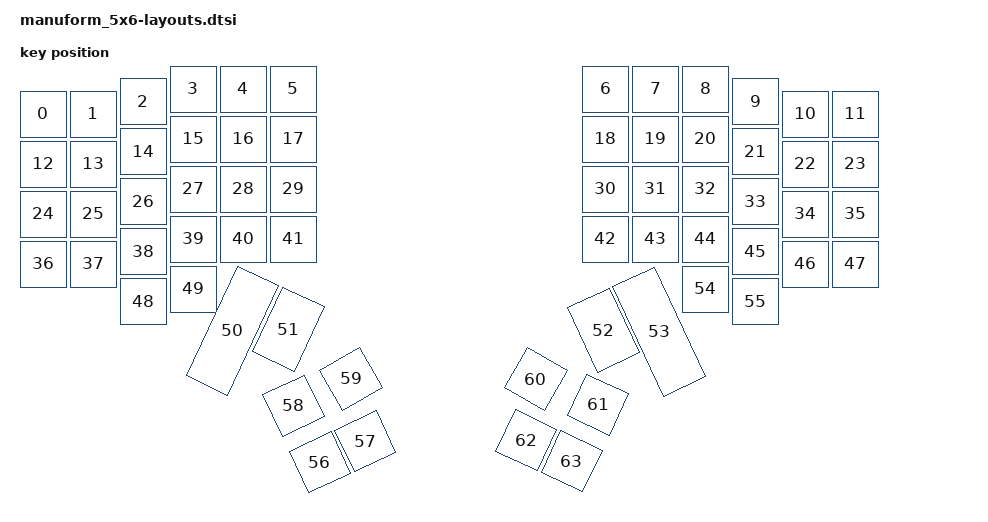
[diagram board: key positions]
#include <physical_layouts.dtsi>

/ {
    physical_layout_manuform_5x6: physical_layout_manuform_5x6 {
        compatible = "zmk,physical-layout";
        display-name = "manuform_5x6";
        keys  //                     w   h    x    y     rot    rx    ry
            = <&key_physical_attrs 100 100    0   75       0     0     0>
            , <&key_physical_attrs 100 100  100   75       0     0     0>
            , <&key_physical_attrs 100 100  200   50       0     0     0>
            , <&key_physical_attrs 100 100  300   25       0     0     0>
            , <&key_physical_attrs 100 100  400   25       0     0     0>
            , <&key_physical_attrs 100 100  500   25       0     0     0>
            , <&key_physical_attrs 100 100 1125   25       0     0     0>
            , <&key_physical_attrs 100 100 1225   25       0     0     0>
            , <&key_physical_attrs 100 100 1325   25       0     0     0>
            , <&key_physical_attrs 100 100 1425   50       0     0     0>
            , <&key_physical_attrs 100 100 1525   75       0     0     0>
            , <&key_physical_attrs 100 100 1625   75       0     0     0>
            , <&key_physical_attrs 100 100    0  175       0     0     0>
            , <&key_physical_attrs 100 100  100  175       0     0     0>
            , <&key_physical_attrs 100 100  200  150       0     0     0>
            , <&key_physical_attrs 100 100  300  125       0     0     0>
            , <&key_physical_attrs 100 100  400  125       0     0     0>
            , <&key_physical_attrs 100 100  500  125       0     0     0>
            , <&key_physical_attrs 100 100 1125  125       0     0     0>
            , <&key_physical_attrs 100 100 1225  125       0     0     0>
            , <&key_physical_attrs 100 100 1325  125       0     0     0>
            , <&key_physical_attrs 100 100 1425  150       0     0     0>
            , <&key_physical_attrs 100 100 1525  175       0     0     0>
            , <&key_physical_attrs 100 100 1625  175       0     0     0>
            , <&key_physical_attrs 100 100    0  275       0     0     0>
            , <&key_physical_attrs 100 100  100  275       0     0     0>
            , <&key_physical_attrs 100 100  200  250       0     0     0>
            , <&key_physical_attrs 100 100  300  225       0     0     0>
            , <&key_physical_attrs 100 100  400  225       0     0     0>
            , <&key_physical_attrs 100 100  500  225       0     0     0>
            , <&key_physical_attrs 100 100 1125  225       0     0     0>
            , <&key_physical_attrs 100 100 1225  225       0     0     0>
            , <&key_physical_attrs 100 100 1325  225       0     0     0>
            , <&key_physical_attrs 100 100 1425  250       0     0     0>
            , <&key_physical_attrs 100 100 1525  275       0     0     0>
            , <&key_physical_attrs 100 100 1625  275       0     0     0>
            , <&key_physical_attrs 100 100    0  375       0     0     0>
            , <&key_physical_attrs 100 100  100  375       0     0     0>
            , <&key_physical_attrs 100 100  200  350       0     0     0>
            , <&key_physical_attrs 100 100  300  325       0     0     0>
            , <&key_physical_attrs 100 100  400  325       0     0     0>
            , <&key_physical_attrs 100 100  500  325       0     0     0>
            , <&key_physical_attrs 100 100 1125  325       0     0     0>
            , <&key_physical_attrs 100 100 1225  325       0     0     0>
            , <&key_physical_attrs 100 100 1325  325       0     0     0>
            , <&key_physical_attrs 100 100 1425  350       0     0     0>
            , <&key_physical_attrs 100 100 1525  375       0     0     0>
            , <&key_physical_attrs 100 100 1625  375       0     0     0>
            , <&key_physical_attrs 100 100  200  450       0     0     0>
            , <&key_physical_attrs 100 100  300  425       0     0     0>
            , <&key_physical_attrs 100 250  575  200    2500     0     0>
            , <&key_physical_attrs 100 150  675  200    2500     0     0>
            , <&key_physical_attrs 100 150  775  925 (-2500)     0     0>
            , <&key_physical_attrs 100 250  875  925 (-2500)     0     0>
            , <&key_physical_attrs 100 100 1325  425       0     0     0>
            , <&key_physical_attrs 100 100 1425  450       0     0     0>
            , <&key_physical_attrs 100 100  150  950 (-2500)     0     0>
            , <&key_physical_attrs 100 100  250  950 (-2500)     0     0>
            , <&key_physical_attrs 100 100  150  825 (-2500)     0     0>
            , <&key_physical_attrs 100 100  200  850 (-3000)     0     0>
            , <&key_physical_attrs 100 100 1175    0    3000     0     0>
            , <&key_physical_attrs 100 100 1300  100    2500     0     0>
            , <&key_physical_attrs 100 100 1200  225    2500     0     0>
            , <&key_physical_attrs 100 100 1300  225    2500     0     0>
            ;
    };
};
